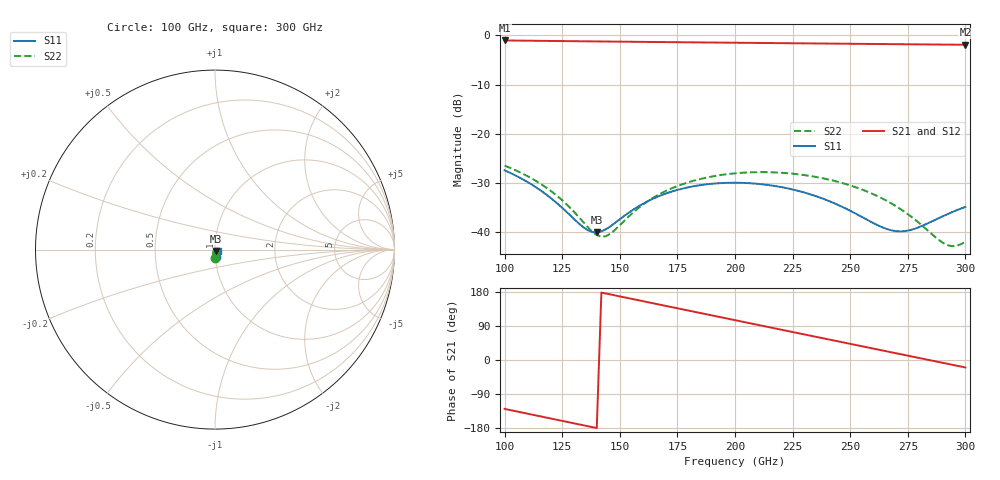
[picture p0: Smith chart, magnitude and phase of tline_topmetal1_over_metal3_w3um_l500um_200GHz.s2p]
#  GHZ S DB R 50
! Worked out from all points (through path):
!   101 points, 100 GHz to 300 GHz, reference 50 ohm
!   highest |S21| = -1.01 dB at 100 GHz (marker M1); lowest = -1.9 dB at 300 GHz (marker M2)
!   group delay of S21, straight-line fit = 3.48 ps
!   lowest |S11| = -40.1 dB at 140 GHz (marker M3), VSWR 1.02, Z = 50.6 - j0.793 ohm
!   |S11| at or under -10 dB: start of sweep to end of sweep
!   |S22| runs from -42.9 to -26.5 dB; largest |S21 - S12| = 9.4e-14
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100  -27.43 -83.7  -1.01 -129.1  -1.01 -129.1  -26.47 -89.0
110  -29.82 -91.2  -1.06 -141.7  -1.06 -141.7  -28.63 -98.3
118  -32.32 -94.4  -1.10 -151.8  -1.10 -151.8  -30.92 -103.9
126  -35.49 -91.9  -1.14 -161.9  -1.14 -161.9  -33.94 -105.7
134  -38.94 -76.0  -1.18 -172.0  -1.18 -172.0  -37.89 -97.6
140  -40.07 -52.1  -1.21 -179.6  -1.21 -179.6  -40.61 -75.8
142  -39.86 -44.0  -1.22 177.9  -1.22 177.9  -40.94 -65.2
146  -38.79 -31.0  -1.23 172.9  -1.23 172.9  -40.29 -45.0
158  -34.79 -18.0  -1.29 157.8  -1.29 157.8  -35.13 -22.7
168  -32.49 -20.9  -1.33 145.3  -1.33 145.3  -32.09 -25.2
184  -30.51 -32.7  -1.40 125.2  -1.40 125.2  -29.30 -38.6
200  -29.95 -47.3  -1.47 105.1  -1.47 105.1  -28.04 -55.3
216  -30.52 -61.9  -1.54 85.1  -1.54 85.1  -27.83 -73.0
224  -31.22 -68.6  -1.57 75.1  -1.57 75.1  -28.07 -81.9
234  -32.50 -75.8  -1.62 62.6  -1.62 62.6  -28.68 -92.8
252  -36.14 -80.5  -1.69 40.1  -1.69 40.1  -30.81 -111.2
268  -39.65 -61.6  -1.76 20.2  -1.76 20.2  -34.19 -123.4
276  -39.59 -44.2  -1.79 10.2  -1.79 10.2  -36.68 -125.3
288  -37.26 -29.5  -1.84 -4.7  -1.84 -4.7  -41.42 -111.4
292  -36.39 -28.2  -1.85 -9.7  -1.85 -9.7  -42.61 -98.1
296  -35.59 -28.2  -1.87 -14.7  -1.87 -14.7  -42.81 -81.9
300  -34.87 -29.2  -1.88 -19.7  -1.88 -19.7  -41.94 -67.7
